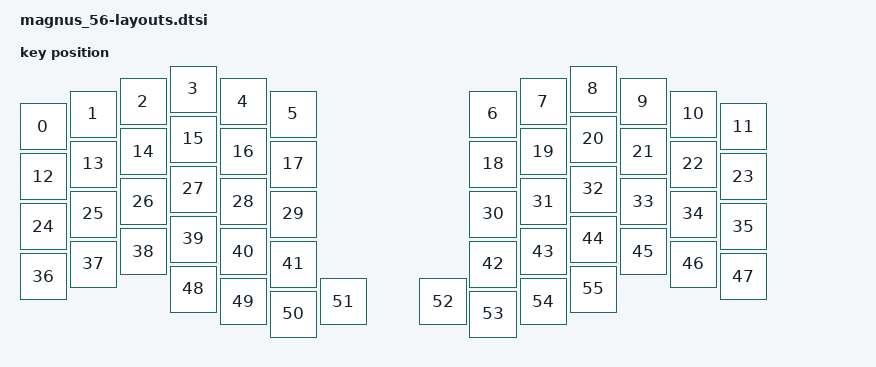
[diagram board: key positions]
#include <physical_layouts.dtsi>

/ {
    physical_layout0: physical_layout_0 {
        compatible = "zmk,physical-layout";
        display-name = "Magnus 56";

        kscan = <&kscan0>;
        transform = <&default_transform>;

        keys  //                     w   h    x    y     rot    rx    ry
            = <&key_physical_attrs 100 100    0   75       0     0     0>
            , <&key_physical_attrs 100 100  100   50       0     0     0>
            , <&key_physical_attrs 100 100  200   25       0     0     0>
            , <&key_physical_attrs 100 100  300    0       0     0     0>
            , <&key_physical_attrs 100 100  400   25       0     0     0>
            , <&key_physical_attrs 100 100  500   50       0     0     0>
            , <&key_physical_attrs 100 100  900   50       0     0     0>
            , <&key_physical_attrs 100 100 1000   25       0     0     0>
            , <&key_physical_attrs 100 100 1100    0       0     0     0>
            , <&key_physical_attrs 100 100 1200   25       0     0     0>
            , <&key_physical_attrs 100 100 1300   50       0     0     0>
            , <&key_physical_attrs 100 100 1400   75       0     0     0>
            , <&key_physical_attrs 100 100    0  175       0     0     0>
            , <&key_physical_attrs 100 100  100  150       0     0     0>
            , <&key_physical_attrs 100 100  200  125       0     0     0>
            , <&key_physical_attrs 100 100  300  100       0     0     0>
            , <&key_physical_attrs 100 100  400  125       0     0     0>
            , <&key_physical_attrs 100 100  500  150       0     0     0>
            , <&key_physical_attrs 100 100  900  150       0     0     0>
            , <&key_physical_attrs 100 100 1000  125       0     0     0>
            , <&key_physical_attrs 100 100 1100  100       0     0     0>
            , <&key_physical_attrs 100 100 1200  125       0     0     0>
            , <&key_physical_attrs 100 100 1300  150       0     0     0>
            , <&key_physical_attrs 100 100 1400  175       0     0     0>
            , <&key_physical_attrs 100 100    0  275       0     0     0>
            , <&key_physical_attrs 100 100  100  250       0     0     0>
            , <&key_physical_attrs 100 100  200  225       0     0     0>
            , <&key_physical_attrs 100 100  300  200       0     0     0>
            , <&key_physical_attrs 100 100  400  225       0     0     0>
            , <&key_physical_attrs 100 100  500  250       0     0     0>
            , <&key_physical_attrs 100 100  900  250       0     0     0>
            , <&key_physical_attrs 100 100 1000  225       0     0     0>
            , <&key_physical_attrs 100 100 1100  200       0     0     0>
            , <&key_physical_attrs 100 100 1200  225       0     0     0>
            , <&key_physical_attrs 100 100 1300  250       0     0     0>
            , <&key_physical_attrs 100 100 1400  275       0     0     0>
            , <&key_physical_attrs 100 100    0  375       0     0     0>
            , <&key_physical_attrs 100 100  100  350       0     0     0>
            , <&key_physical_attrs 100 100  200  325       0     0     0>
            , <&key_physical_attrs 100 100  300  300       0     0     0>
            , <&key_physical_attrs 100 100  400  325       0     0     0>
            , <&key_physical_attrs 100 100  500  350       0     0     0>
            , <&key_physical_attrs 100 100  900  350       0     0     0>
            , <&key_physical_attrs 100 100 1000  325       0     0     0>
            , <&key_physical_attrs 100 100 1100  300       0     0     0>
            , <&key_physical_attrs 100 100 1200  325       0     0     0>
            , <&key_physical_attrs 100 100 1300  350       0     0     0>
            , <&key_physical_attrs 100 100 1400  375       0     0     0>
            , <&key_physical_attrs 100 100  300  400       0     0     0>
            , <&key_physical_attrs 100 100  400  425       0     0     0>
            , <&key_physical_attrs 100 100  500  450       0     0     0>
            , <&key_physical_attrs 100 100  600  425       0     0     0>
            , <&key_physical_attrs 100 100  800  425       0     0     0>
            , <&key_physical_attrs 100 100  900  450       0     0     0>
            , <&key_physical_attrs 100 100 1000  425       0     0     0>
            , <&key_physical_attrs 100 100 1100  400       0     0     0>
            ;
    };
};
